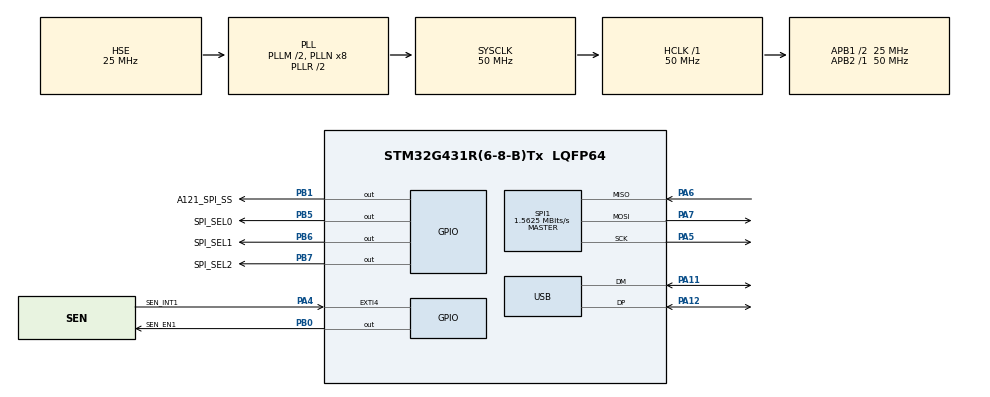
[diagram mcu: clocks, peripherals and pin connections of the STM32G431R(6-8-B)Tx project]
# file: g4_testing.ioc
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FREERTOS.BinarySemaphores01=sem_data_received,Static,sem_data_received_ControlBlock
FREERTOS.MEMORY_ALLOCATION=1
FREERTOS.Tasks01=defaultTask_Bri,0,256,StartDefaultTask_Bringup,Default,NULL,Static,defaultTaskBuffer,defaultTaskControlBlock;Task_SPI_Comms,0,256,StartTask_SPI_Comms,Default,NULL,Static,myTask02Buffer,myTask02ControlBlock
Mcu.Family=STM32G4
Mcu.Name=STM32G431R(6-8-B)Tx
Mcu.Package=LQFP64
NVIC.EXTI4_IRQn=true\:5\:0\:false\:false\:true\:true\:true\:true\:true
NVIC.PriorityGroup=NVIC_PRIORITYGROUP_4
NVIC.USB_LP_IRQn=true\:5\:0\:false\:false\:true\:true\:false\:true\:true
PA11.Mode=Device
PA11.Signal=USB_DM
PA12.Mode=Device
PA12.Signal=USB_DP
PA13.Mode=Serial_Wire
PA13.Signal=SYS_JTMS-SWDIO
PA14.Mode=Serial_Wire
PA14.Signal=SYS_JTCK-SWCLK
PA4.GPIO_Label=SEN_INT1
PA4.GPIO_ModeDefaultEXTI=GPIO_MODE_IT_RISING
PA4.Signal=GPXTI4
PA5.GPIO_Speed=GPIO_SPEED_FREQ_VERY_HIGH
PA5.Mode=Full_Duplex_Master
PA5.Signal=SPI1_SCK
PA6.GPIO_Speed=GPIO_SPEED_FREQ_VERY_HIGH
PA6.Mode=Full_Duplex_Master
PA6.Signal=SPI1_MISO
PA7.GPIO_Speed=GPIO_SPEED_FREQ_VERY_HIGH
PA7.Mode=Full_Duplex_Master
PA7.Signal=SPI1_MOSI
PB0.GPIO_Label=SEN_EN1
PB0.GPIO_ModeDefaultOutputPP=GPIO_MODE_OUTPUT_PP
PB0.GPIO_PuPd=GPIO_NOPULL
PB0.GPIO_Speed=GPIO_SPEED_FREQ_VERY_HIGH
PB0.Signal=GPIO_Output
PB1.GPIO_Label=A121_SPI_SS
PB1.GPIO_ModeDefaultOutputPP=GPIO_MODE_OUTPUT_PP
PB1.GPIO_PuPd=GPIO_NOPULL
PB1.GPIO_Speed=GPIO_SPEED_FREQ_VERY_HIGH
PB1.PinState=GPIO_PIN_SET
PB1.Signal=GPIO_Output
PB5.GPIO_Label=SPI_SEL0
PB5.GPIO_Speed=GPIO_SPEED_FREQ_VERY_HIGH
PB5.Signal=GPIO_Output
PB6.GPIO_FM6=__NULL
PB6.GPIO_Label=SPI_SEL1 
PB6.GPIO_Speed=GPIO_SPEED_FREQ_VERY_HIGH
PB6.Signal=GPIO_Output
PB7.GPIO_Label=SPI_SEL2
PB7.GPIO_Speed=GPIO_SPEED_FREQ_VERY_HIGH
PB7.Signal=GPIO_Output
PF0-OSC_IN.Mode=HSE-External-Oscillator
PF0-OSC_IN.Signal=RCC_OSC_IN
PF1-OSC_OUT.Mode=HSE-External-Oscillator
PF1-OSC_OUT.Signal=RCC_OSC_OUT
ProjectManager.HeapSize=0x200
ProjectManager.StackSize=0x400
ProjectManager.TargetToolchain=STM32CubeIDE
RCC.ADC12Freq_Value=50000000
RCC.AHBFreq_Value=50000000
RCC.APB1CLKDivider=RCC_HCLK_DIV2
RCC.APB1Freq_Value=25000000
RCC.APB1TimFreq_Value=50000000
RCC.APB2Freq_Value=50000000
RCC.APB2TimFreq_Value=50000000
RCC.CK48CLockSelection=RCC_USBCLKSOURCE_HSI48
RCC.CortexFreq_Value=50000000
RCC.DATA_CACHE_ENABLE=0
RCC.EXTERNAL_CLOCK_VALUE=12288000
RCC.HCLKFreq_Value=50000000
RCC.HSE_VALUE=25000000
RCC.HSI48_VALUE=48000000
RCC.HSI_VALUE=16000000
RCC.INSTRUCTION_CACHE_ENABLE=0
RCC.LSE_VALUE=32768
RCC.PLLM=RCC_PLLM_DIV2
RCC.PLLQ=RCC_PLLQ_DIV4
RCC.PLLSourceVirtual=RCC_PLLSOURCE_HSE
RCC.SYSCLKFreq_VALUE=50000000
RCC.SYSCLKSource=RCC_SYSCLKSOURCE_PLLCLK
RCC.USBFreq_Value=48000000
RCC.VCOOutputFreq_Value=100000000
SPI1.BaudRatePrescaler=SPI_BAUDRATEPRESCALER_32
SPI1.CalculateBaudRate=1.5625 MBits/s
SPI1.DataSize=SPI_DATASIZE_8BIT
SPI1.Direction=SPI_DIRECTION_2LINES
SPI1.Mode=SPI_MODE_MASTER
SPI1.VirtualType=VM_MASTER
USB_DEVICE.CLASS_NAME_FS=CDC
USB_DEVICE.VirtualMode=Cdc
USB_DEVICE.VirtualModeFS=Cdc_FS
VP_FREERTOS_VS_CMSIS_V1.Mode=CMSIS_V1
VP_SYS_VS_DBSignals.Mode=DisableDeadBatterySignals
VP_USB_DEVICE_VS_USB_DEVICE_CDC_FS.Mode=CDC_FS
board=custom

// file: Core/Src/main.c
/* USER CODE BEGIN Header */
/**
  ******************************************************************************
  * @file           : main.c
  * @brief          : Main program body
  ******************************************************************************
  * @attention
  *
  * Copyright (c) 2024 STMicroelectronics.
  * All rights reserved.
  *
  * This software is licensed under terms that can be found in the LICENSE file
  * in the root directory of this software component.
  * If no LICENSE file comes with this software, it is provided AS-IS.
  *
  ******************************************************************************
  */
/* USER CODE END Header */
#include "main.h"
#include "cmsis_os.h"
#include "usb_device.h"

/* USER CODE BEGIN Includes */
#include "example_bring_up.h"
#include "usbd_cdc_if.h"

#include <stdio.h>
#include <stdlib.h>

/* USER CODE END Includes */

SPI_HandleTypeDef hspi1;

osThreadId defaultTask_BriHandle;
uint32_t defaultTaskBuffer[ 256 ];
osStaticThreadDef_t defaultTaskControlBlock;
osThreadId Task_SPI_CommsHandle;
uint32_t myTask02Buffer[ 256 ];
osStaticThreadDef_t myTask02ControlBlock;
osSemaphoreId sem_data_receivedHandle;
osStaticSemaphoreDef_t sem_data_received_ControlBlock;

void SystemClock_Config(void);
static void MX_GPIO_Init(void);
static void MX_SPI1_Init(void);
void StartDefaultTask_Bringup(void const * argument);
void StartTask_SPI_Comms(void const * argument);

int main(void)
{

  /* MCU Configuration--------------------------------------------------------*/

  /* Reset of all peripherals, Initializes the Flash interface and the Systick. */
  HAL_Init();

  /* Configure the system clock */
  SystemClock_Config();

  /* Initialize all configured peripherals */
  MX_GPIO_Init();
  MX_SPI1_Init();
  /* USER CODE BEGIN 2 */

  // uncomment below for bare-metal app (no FreeRTOS)
//  int ret = EXIT_SUCCESS;
//
//  // small delay to give time to start logic analyzer
//  HAL_Delay(5000);
//
//  // Run Board bringup tests.
//  // Board bringup tests ensure that the HW is functioning as expected.
//  // these tests are HW specific and test things like SPI Comms, interrupts,
//  // clock and voltage. Beware, although it "tests" clock and voltage, what it
//  // really means is that it tests against optimal values. The tests are SW
//  // initiated so the A121 has to start from a somewhat functioning state.
//  ret = acc_example_bring_up(0,NULL);
//
//  (void)ret;

  /* USER CODE END 2 */

  /* Create the semaphores(s) */
  /* definition and creation of sem_data_received */
  osSemaphoreStaticDef(sem_data_received, &sem_data_received_ControlBlock);
  sem_data_receivedHandle = osSemaphoreCreate(osSemaphore(sem_data_received), 1);

  /* Create the thread(s) */
  /* definition and creation of defaultTask_Bri */
  osThreadStaticDef(defaultTask_Bri, StartDefaultTask_Bringup, osPriorityNormal, 0, 256, defaultTaskBuffer, &defaultTaskControlBlock);
  defaultTask_BriHandle = osThreadCreate(osThread(defaultTask_Bri), NULL);

  /* definition and creation of Task_SPI_Comms */
  osThreadStaticDef(Task_SPI_Comms, StartTask_SPI_Comms, osPriorityNormal, 0, 256, myTask02Buffer, &myTask02ControlBlock);
  Task_SPI_CommsHandle = osThreadCreate(osThread(Task_SPI_Comms), NULL);

  /* Start scheduler */
  osKernelStart();

  /* We should never get here as control is now taken by the scheduler */

  /* Infinite loop */
while (1) {

  }
}

void SystemClock_Config(void)
{
  RCC_OscInitTypeDef RCC_OscInitStruct = {0};
  RCC_ClkInitTypeDef RCC_ClkInitStruct = {0};

  /** Configure the main internal regulator output voltage
  */
  HAL_PWREx_ControlVoltageScaling(PWR_REGULATOR_VOLTAGE_SCALE1);

  /** Initializes the RCC Oscillators according to the specified parameters
  * in the RCC_OscInitTypeDef structure.
  */
  RCC_OscInitStruct.OscillatorType = RCC_OSCILLATORTYPE_HSI48|RCC_OSCILLATORTYPE_HSE;
  RCC_OscInitStruct.HSEState = RCC_HSE_ON;
  RCC_OscInitStruct.HSI48State = RCC_HSI48_ON;
  RCC_OscInitStruct.PLL.PLLState = RCC_PLL_ON;
  RCC_OscInitStruct.PLL.PLLSource = RCC_PLLSOURCE_HSE;
  RCC_OscInitStruct.PLL.PLLM = RCC_PLLM_DIV2;
  RCC_OscInitStruct.PLL.PLLN = 8;
  RCC_OscInitStruct.PLL.PLLP = RCC_PLLP_DIV2;
  RCC_OscInitStruct.PLL.PLLQ = RCC_PLLQ_DIV4;
  RCC_OscInitStruct.PLL.PLLR = RCC_PLLR_DIV2;
  if (HAL_RCC_OscConfig(&RCC_OscInitStruct) != HAL_OK)
  {
    Error_Handler();
  }

  /** Initializes the CPU, AHB and APB buses clocks
  */
  RCC_ClkInitStruct.ClockType = RCC_CLOCKTYPE_HCLK|RCC_CLOCKTYPE_SYSCLK
                              |RCC_CLOCKTYPE_PCLK1|RCC_CLOCKTYPE_PCLK2;
  RCC_ClkInitStruct.SYSCLKSource = RCC_SYSCLKSOURCE_PLLCLK;
  RCC_ClkInitStruct.AHBCLKDivider = RCC_SYSCLK_DIV1;
  RCC_ClkInitStruct.APB1CLKDivider = RCC_HCLK_DIV2;
  RCC_ClkInitStruct.APB2CLKDivider = RCC_HCLK_DIV1;

  if (HAL_RCC_ClockConfig(&RCC_ClkInitStruct, FLASH_LATENCY_1) != HAL_OK)
  {
    Error_Handler();
  }
}

static void MX_SPI1_Init(void)
{

  /* SPI1 parameter configuration*/
  hspi1.Instance = SPI1;
  hspi1.Init.Mode = SPI_MODE_MASTER;
  hspi1.Init.Direction = SPI_DIRECTION_2LINES;
  hspi1.Init.DataSize = SPI_DATASIZE_8BIT;
  hspi1.Init.CLKPolarity = SPI_POLARITY_LOW;
  hspi1.Init.CLKPhase = SPI_PHASE_1EDGE;
  hspi1.Init.NSS = SPI_NSS_SOFT;
  hspi1.Init.BaudRatePrescaler = SPI_BAUDRATEPRESCALER_32;
  hspi1.Init.FirstBit = SPI_FIRSTBIT_MSB;
  hspi1.Init.TIMode = SPI_TIMODE_DISABLE;
  hspi1.Init.CRCCalculation = SPI_CRCCALCULATION_DISABLE;
  hspi1.Init.CRCPolynomial = 7;
  hspi1.Init.CRCLength = SPI_CRC_LENGTH_DATASIZE;
  hspi1.Init.NSSPMode = SPI_NSS_PULSE_ENABLE;
  if (HAL_SPI_Init(&hspi1) != HAL_OK)
  {
    Error_Handler();
  }

}

static void MX_GPIO_Init(void)
{
  GPIO_InitTypeDef GPIO_InitStruct = {0};

  /* GPIO Ports Clock Enable */
  __HAL_RCC_GPIOF_CLK_ENABLE();
  __HAL_RCC_GPIOA_CLK_ENABLE();
  __HAL_RCC_GPIOB_CLK_ENABLE();

  /*Configure GPIO pin Output Level */
  HAL_GPIO_WritePin(GPIOB, SEN_EN1_Pin|SPI_SEL0_Pin|SPI_SEL1_Pin|SPI_SEL2_Pin, GPIO_PIN_RESET);

  /*Configure GPIO pin Output Level */
  HAL_GPIO_WritePin(A121_SPI_SS_GPIO_Port, A121_SPI_SS_Pin, GPIO_PIN_SET);

  /*Configure GPIO pin : SEN_INT1_Pin */
  GPIO_InitStruct.Pin = SEN_INT1_Pin;
  GPIO_InitStruct.Mode = GPIO_MODE_IT_RISING;
  GPIO_InitStruct.Pull = GPIO_NOPULL;
  HAL_GPIO_Init(SEN_INT1_GPIO_Port, &GPIO_InitStruct);

  /*Configure GPIO pins : SEN_EN1_Pin A121_SPI_SS_Pin SPI_SEL0_Pin SPI_SEL1_Pin
                           SPI_SEL2_Pin */
  GPIO_InitStruct.Pin = SEN_EN1_Pin|A121_SPI_SS_Pin|SPI_SEL0_Pin|SPI_SEL1_Pin
                          |SPI_SEL2_Pin;
  GPIO_InitStruct.Mode = GPIO_MODE_OUTPUT_PP;
  GPIO_InitStruct.Pull = GPIO_NOPULL;
  GPIO_InitStruct.Speed = GPIO_SPEED_FREQ_VERY_HIGH;
  HAL_GPIO_Init(GPIOB, &GPIO_InitStruct);

  /* EXTI interrupt init*/
  HAL_NVIC_SetPriority(EXTI4_IRQn, 5, 0);
  HAL_NVIC_EnableIRQ(EXTI4_IRQn);

}

/* USER CODE BEGIN 4 */

// Overwrite weak function used by printf().
// Uses USB HAL. Enables logging output to host PC terminal
// Use TeraTerm or PuTty and look for COM port in device manager
int _write(int file, char *ptr, int len) {
  static uint8_t rc = USBD_OK;

  do {
	  rc = CDC_Transmit_FS((uint8_t *)ptr, len);
  } while (USBD_BUSY == rc);

  if (USBD_FAIL == rc) {
	  return 0;
  }

  return len;
}

// Overwrite weak function for A121 Interrupt Callback
// Interrupt handler will call this Callback function
void HAL_GPIO_EXTI_Callback(uint16_t GPIO_Pin) {
	UNUSED(GPIO_Pin);

	// Release semaphore to indicate data is ready
	osSemaphoreRelease(sem_data_receivedHandle);

	return;
}

/* USER CODE END 4 */

void StartDefaultTask_Bringup(void const * argument)
{
  /* init code for USB_Device */
  MX_USB_Device_Init();
  /* USER CODE BEGIN 5 */

  // small delay to give time to start logic analyzer
  HAL_Delay(5000);

  // Run Board bringup tests.
  // Board bringup tests ensure that the HW is functioning as expected.
  // these tests are HW specific and test things like SPI Comms, interrupts,
  // clock and voltage. Beware, although it "tests" clock and voltage, what it
  // really means is that it tests against optimal values. The tests are SW
  // initiated so the A121 has to start from a somewhat functioning state.
  acc_example_bring_up(0,NULL);

  /* Infinite loop */
  for(;;)
  {
    osDelay(1);
  }
  /* USER CODE END 5 */
}

/* USER CODE BEGIN Header_StartTask_SPI_Comms */
/**
* @brief Function implementing the Task_SPI_Comms thread.
* 	Placeholder for final app. This task will service SPI communication.
* @param argument: Not used
* @retval None
*/
/* USER CODE END Header_StartTask_SPI_Comms */
void StartTask_SPI_Comms(void const * argument)
{
  /* USER CODE BEGIN StartTask_SPI_Comms */

	// placeholder task for SPI Comms
	// suspend for now until we get SPI working/pass Bringup tests
	osThreadSuspend(osThreadGetId());

  /* Infinite loop */
  for(;;)
  {
    osDelay(1);
  }
  /* USER CODE END StartTask_SPI_Comms */
}

void Error_Handler(void)
{
  /* USER CODE BEGIN Error_Handler_Debug */
  /* User can add his own implementation to report the HAL error return state */
//  __disable_irq();
  while (1)
  {
//	  printf("AVBB");
  }
  /* USER CODE END Error_Handler_Debug */
}
